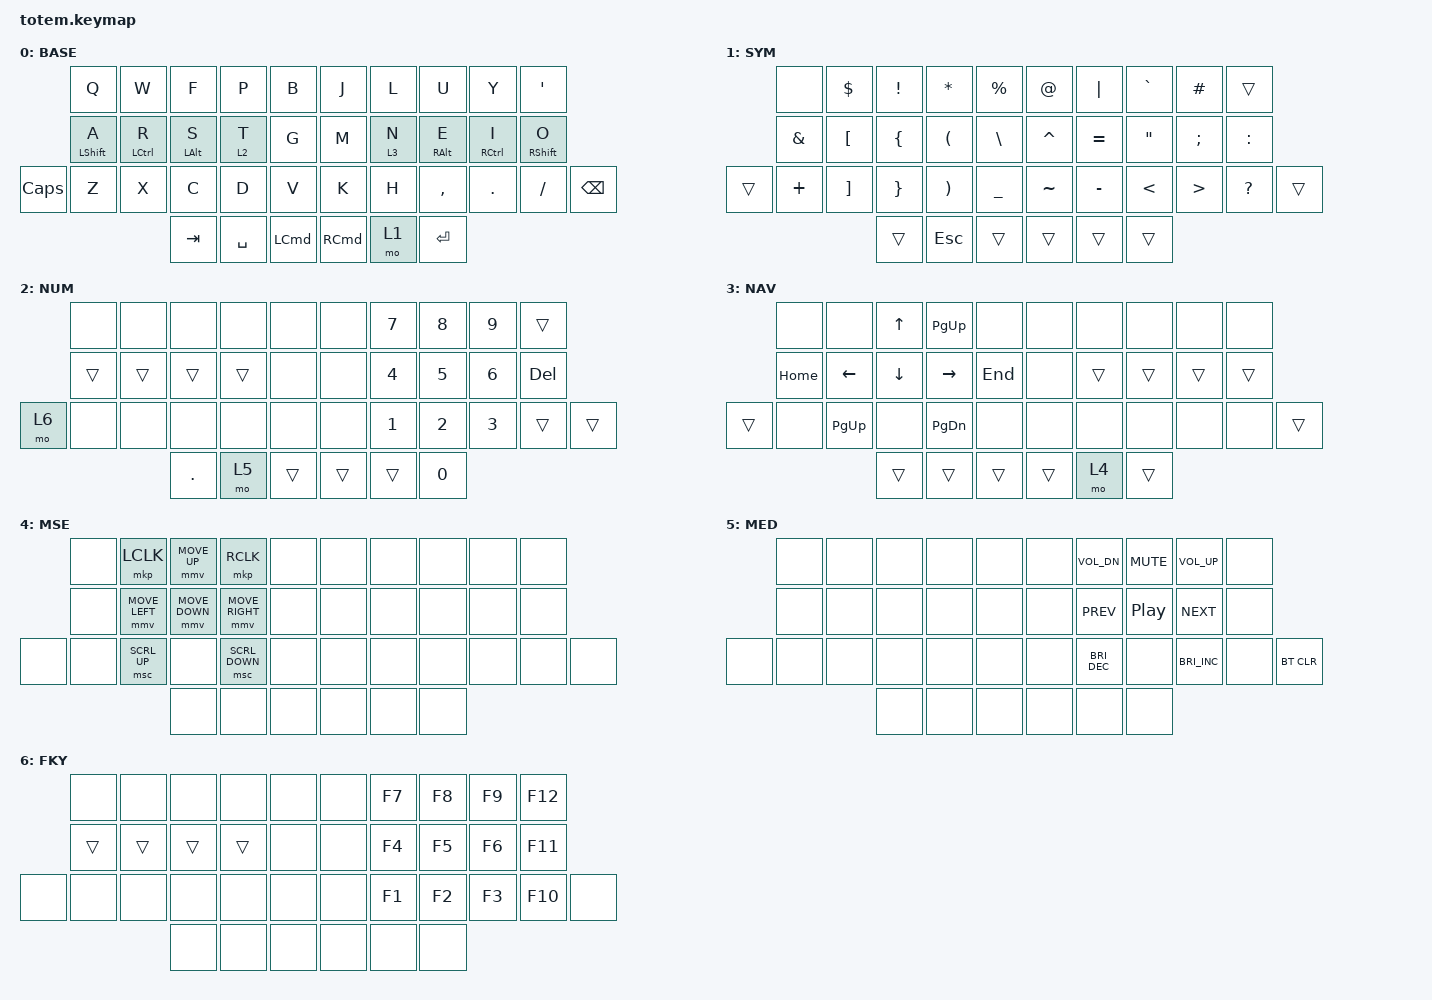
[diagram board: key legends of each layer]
//
//                                                        ▀▀▀▀▀     ▀▀▀▀▀          ▀▀█▀▀
//                                                        ▄▀▀▀▄  ▄  ▄▀▀▀▄  ▄  ▄▀▀▀▄  █  ▄▀▀▀▄
//                                                        █   █  █  █   █  █  █   █  █  █   █
//                                                         ▀▀▀   █   ▀▀▀   █   ▀▀▀   ▀   ▀▀▀
//                                                               █      ▄▄▄█▄▄▄    █   █  
//                                                               ▀      █  █  █     █▄█
//                                                             ▀▀▀▀▀    █  █  █      ▀
//                                                                      ▀  ▀  ▀
//
// ▄▄▄▄▄▄▄▄▄▄▄▄▄▄▄▄▄▄▄▄▄▄▄▄▄▄▄▄▄▄▄▄▄▄▄▄▄▄▄▄▄▄▄▄▄▄▄▄▄▄▄▄▄▄▄▄▄▄▄▄▄▄▄▄▄▄▄▄▄▄▄▄▄▄▄▄▄▄▄▄▄▄▄▄▄▄▄▄▄▄▄▄▄▄▄▄▄▄▄▄▄▄▄▄▄▄▄▄▄▄▄▄▄▄▄▄▄▄▄▄▄▄▄▄▄▄▄▄▄▄▄▄▄▄▄▄▄▄▄▄▄▄▄▄▄▄▄▄▄

#include <behaviors.dtsi>
#include <dt-bindings/zmk/bt.h>
#include <dt-bindings/zmk/keys.h>
#include <dt-bindings/zmk/pointing.h>

#define BASE 0
#define NAV  1
#define SYM  2
#define ADJ  3
#define TVP1 4
#define TVP2 5

&mt {
    quick-tap-ms = <100>;
    global-quick-tap;
    flavor = "tap-preferred";
    tapping-term-ms = <170>;
};

&mmv { acceleration-exponent = <4>; };

&msc { acceleration-exponent = <2>; };

/ {
    combos { compatible = "zmk,combos"; };

    keymap {
        compatible = "zmk,keymap";

        // ▄▄▄▄▄▄▄▄▄▄▄▄▄▄▄▄▄▄▄▄▄▄▄▄▄▄▄▄▄▄▄▄▄▄▄▄▄▄▄▄▄▄▄▄▄▄▄▄▄▄▄▄▄▄▄▄▄▄▄▄▄▄▄▄▄▄▄▄▄▄▄▄▄▄▄▄▄▄▄▄▄▄▄▄▄▄▄▄▄▄▄▄▄▄▄▄▄▄▄▄▄▄▄▄▄▄▄▄▄▄▄▄▄▄▄▄▄▄▄▄▄▄▄▄▄▄▄▄▄▄▄▄▄▄▄▄▄▄▄▄▄▄▄▄▄▄▄▄▄

        colemak_dh {
            // ┏━━━━━━━━━━━━━━━━━━━━━━━━━━━━━━━━━━━━━━━┓

            label = "BASE";

            // ┗━━━━━━━━━━━━━━━━━━━━━━━━━━━━━━━━━━━━━━━┛
            //             ┏━━━━━━━━━━━┳━━━━━━━━━━━┳━━━━━━━━━━━┳━━━━━━━━━━━┳━━━━━━━━━━━┓   ┏━━━━━━━━━━━┳━━━━━━━━━━━┳━━━━━━━━━━━┳━━━━━━━━━━━┳━━━━━━━━━━━┓
            //             ┃     Q     ┃     W     ┃     F     ┃     P     ┃     G     ┃   ┃     J     ┃     L     ┃     U     ┃     Y     ┃     ;     ┃
            //             ┣━━━━━━━━━━━╋━━━━━━━━━━━╋━━━━━━━━━━━╋━━━━━━━━━━━╋━━━━━━━━━━━┫   ┣━━━━━━━━━━━╋━━━━━━━━━━━╋━━━━━━━━━━━╋━━━━━━━━━━━╋━━━━━━━━━━━┫
            //             ┃     A     ┃     R     ┃     S     ┃     T     ┃     D     ┃   ┃     H     ┃     N     ┃     E     ┃     I     ┃     O     ┃
            // ┏━━━━━━━━━━━╋━━━━━━━━━━━╋━━━━━━━━━━━╋━━━━━━━━━━━╋━━━━━━━━━━━╋━━━━━━━━━━━┫   ┣━━━━━━━━━━━╋━━━━━━━━━━━╋━━━━━━━━━━━╋━━━━━━━━━━━╋━━━━━━━━━━━╋━━━━━━━━━━━┓
            // ┃     Q     ┃     Z     ┃     X     ┃     C     ┃     V     ┃     B     ┃   ┃     K     ┃     M     ┃     ,     ┃     .     ┃     /     ┃     \     ┃
            // ┗━━━━━━━━━━━┻━━━━━━━━━━━┻━━━━━━━━━━━╋━━━━━━━━━━━╋━━━━━━━━━━━╋━━━━━━━━━━━┫   ┣━━━━━━━━━━━╋━━━━━━━━━━━╋━━━━━━━━━━━╋━━━━━━━━━━━┻━━━━━━━━━━━┻━━━━━━━━━━━┛
            //                                     ┃    DEL    ┃    TAB    ┃    SPC    ┃   ┃   ENTER   ┃           ┃   BSPC    ┃
            //                                     ┗━━━━━━━━━━━┻━━━━━━━━━━━┻━━━━━━━━━━━┛   ┗━━━━━━━━━━━┻━━━━━━━━━━━┻━━━━━━━━━━━┛

            bindings = <
              &kp Q             &kp W        &kp F           &kp P      &kp B               &kp J              &kp L    &kp U            &kp Y        &kp SQT
              &mt LEFT_SHIFT A  &mt LCTRL R  &mt LEFT_ALT S  &lt 2 T    &kp G               &kp M              &lt 3 N  &mt RIGHT_ALT E  &mt RCTRL I  &mt RIGHT_SHIFT O
&kp CAPSLOCK  &kp Z             &kp X        &kp C           &kp D      &kp V               &kp K              &kp H    &kp COMMA        &kp DOT      &kp FSLH           &kp BACKSPACE
                                             &kp TAB         &kp SPACE  &kp LEFT_COMMAND    &kp RIGHT_COMMAND  &mo 1    &kp ENTER
            >;
        };

        // ▄▄▄▄▄▄▄▄▄▄▄▄▄▄▄▄▄▄▄▄▄▄▄▄▄▄▄▄▄▄▄▄▄▄▄▄▄▄▄▄▄▄▄▄▄▄▄▄▄▄▄▄▄▄▄▄▄▄▄▄▄▄▄▄▄▄▄▄▄▄▄▄▄▄▄▄▄▄▄▄▄▄▄▄▄▄▄▄▄▄▄▄▄▄▄▄▄▄▄▄▄▄▄▄▄▄▄▄▄▄▄▄▄▄▄▄▄▄▄▄▄▄▄▄▄▄▄▄▄▄▄▄▄▄▄▄▄▄▄▄▄▄▄▄▄▄▄▄▄

        symbols {
            // ┏━━━━━━━━━━━━━━━━━━━━━━━━━━━━━━━━━━━━━━━┓

            label = "SYM";

            // ┗━━━━━━━━━━━━━━━━━━━━━━━━━━━━━━━━━━━━━━━┛
            //             ┏━━━━━━━━━━━┳━━━━━━━━━━━┳━━━━━━━━━━━┳━━━━━━━━━━━┳━━━━━━━━━━━┓   ┏━━━━━━━━━━━┳━━━━━━━━━━━┳━━━━━━━━━━━┳━━━━━━━━━━━┳━━━━━━━━━━━┓
            //             ┃           ┃           ┃     UP    ┃           ┃     {     ┃   ┃     }     ┃     7     ┃     8     ┃     9     ┃     +     ┃
            //             ┣━━━━━━━━━━━╋━━━━━━━━━━━╋━━━━━━━━━━━╋━━━━━━━━━━━╋━━━━━━━━━━━┫   ┣━━━━━━━━━━━╋━━━━━━━━━━━╋━━━━━━━━━━━╋━━━━━━━━━━━╋━━━━━━━━━━━┫
            //             ┃   SHIFT   ┃   LEFT    ┃    DOWN   ┃   RIGHT   ┃     [     ┃   ┃     ]     ┃     4     ┃     5     ┃     6     ┃     -     ┃
            // ┏━━━━━━━━━━━╋━━━━━━━━━━━╋━━━━━━━━━━━╋━━━━━━━━━━━╋━━━━━━━━━━━╋━━━━━━━━━━━┫   ┣━━━━━━━━━━━╋━━━━━━━━━━━╋━━━━━━━━━━━╋━━━━━━━━━━━╋━━━━━━━━━━━╋━━━━━━━━━━━┓
            // ┃           ┃           ┃   P UP    ┃  C LOCK   ┃  P DOWN   ┃     (     ┃   ┃     )     ┃     1     ┃     2     ┃     3     ┃     *     ┃           ┃
            // ┗━━━━━━━━━━━┻━━━━━━━━━━━┻━━━━━━━━━━━╋━━━━━━━━━━━╋━━━━━━━━━━━╋━━━━━━━━━━━┫   ┣━━━━━━━━━━━╋━━━━━━━━━━━╋━━━━━━━━━━━╋━━━━━━━━━━━┻━━━━━━━━━━━┻━━━━━━━━━━━┛
            //                                     ┃           ┃    TAB    ┃    SPC    ┃   ┃    DEL    ┃     0     ┃           ┃
            //                                     ┗━━━━━━━━━━━┻━━━━━━━━━━━┻━━━━━━━━━━━┛   ┗━━━━━━━━━━━┻━━━━━━━━━━━┻━━━━━━━━━━━┛

            bindings = <
        &none          &kp DOLLAR         &kp EXCLAMATION  &kp ASTERISK           &kp PERCENT       &kp AT_SIGN  &kp PIPE   &kp GRAVE          &kp HASH          &trans
        &kp AMPERSAND  &kp LEFT_BRACKET   &kp LEFT_BRACE   &kp LEFT_PARENTHESIS   &kp BACKSLASH     &kp CARET    &kp EQUAL  &kp DOUBLE_QUOTES  &kp SEMICOLON     &kp COLON
&trans  &kp PLUS       &kp RIGHT_BRACKET  &kp RIGHT_BRACE  &kp RIGHT_PARENTHESIS  &kp UNDERSCORE    &kp TILDE    &kp MINUS  &kp LESS_THAN      &kp GREATER_THAN  &kp QUESTION  &trans
                                          &trans           &kp ESC                &trans            &trans       &trans     &trans
            >;
        };

        // ▄▄▄▄▄▄▄▄▄▄▄▄▄▄▄▄▄▄▄▄▄▄▄▄▄▄▄▄▄▄▄▄▄▄▄▄▄▄▄▄▄▄▄▄▄▄▄▄▄▄▄▄▄▄▄▄▄▄▄▄▄▄▄▄▄▄▄▄▄▄▄▄▄▄▄▄▄▄▄▄▄▄▄▄▄▄▄▄▄▄▄▄▄▄▄▄▄▄▄▄▄▄▄▄▄▄▄▄▄▄▄▄▄▄▄▄▄▄▄▄▄▄▄▄▄▄▄▄▄▄▄▄▄▄▄▄▄▄▄▄▄▄▄▄▄▄▄▄▄

        number {
            // ┏━━━━━━━━━━━━━━━━━━━━━━━━━━━━━━━━━━━━━━━┓

            label = "NUM";

            // ┗━━━━━━━━━━━━━━━━━━━━━━━━━━━━━━━━━━━━━━━┛
            //             ┏━━━━━━━━━━━┳━━━━━━━━━━━┳━━━━━━━━━━━┳━━━━━━━━━━━┳━━━━━━━━━━━┓   ┏━━━━━━━━━━━┳━━━━━━━━━━━┳━━━━━━━━━━━┳━━━━━━━━━━━┳━━━━━━━━━━━┓
            //             ┃     !     ┃     @     ┃     #     ┃     $     ┃     %     ┃   ┃     ˆ     ┃     &     ┃     Ü     ┃     '     ┃     "     ┃
            //             ┣━━━━━━━━━━━╋━━━━━━━━━━━╋━━━━━━━━━━━╋━━━━━━━━━━━╋━━━━━━━━━━━┫   ┣━━━━━━━━━━━╋━━━━━━━━━━━╋━━━━━━━━━━━╋━━━━━━━━━━━╋━━━━━━━━━━━┫
            //             ┃     Ä     ┃           ┃    SZ     ┃           ┃           ┃   ┃   MUTE    ┃   YEN     ┃   EURO    ┃  POUND    ┃     Ö     ┃
            // ┏━━━━━━━━━━━╋━━━━━━━━━━━╋━━━━━━━━━━━╋━━━━━━━━━━━╋━━━━━━━━━━━╋━━━━━━━━━━━┫   ┣━━━━━━━━━━━╋━━━━━━━━━━━╋━━━━━━━━━━━╋━━━━━━━━━━━╋━━━━━━━━━━━╋━━━━━━━━━━━┓
            // ┃           ┃  EMAIL1   ┃  EMAIL2   ┃           ┃           ┃           ┃   ┃   VOL-    ┃   VOL+    ┃   LAST    ┃   NEXT    ┃     \     ┃           ┃
            // ┗━━━━━━━━━━━┻━━━━━━━━━━━┻━━━━━━━━━━━╋━━━━━━━━━━━╋━━━━━━━━━━━╋━━━━━━━━━━━┫   ┣━━━━━━━━━━━╋━━━━━━━━━━━╋━━━━━━━━━━━╋━━━━━━━━━━━┻━━━━━━━━━━━┻━━━━━━━━━━━┛
            //                                     ┃           ┃    GIF    ┃    ADJ    ┃   ┃           ┃           ┃           ┃
            //                                     ┗━━━━━━━━━━━┻━━━━━━━━━━━┻━━━━━━━━━━━┛   ┗━━━━━━━━━━━┻━━━━━━━━━━━┻━━━━━━━━━━━┛

            bindings = <
       &none   &none   &none       &none   &none     &none   &kp N7        &kp N8        &kp N9        &trans
       &trans  &trans  &trans      &trans  &none     &none   &kp NUMBER_4  &kp N5        &kp NUMBER_6  &kp DELETE
&mo 6  &none   &none   &none       &none   &none     &none   &kp NUMBER_1  &kp NUMBER_2  &kp NUMBER_3  &trans      &trans
                       &kp PERIOD  &mo 5   &trans    &trans  &trans        &kp N0
            >;
        };

        // ▄▄▄▄▄▄▄▄▄▄▄▄▄▄▄▄▄▄▄▄▄▄▄▄▄▄▄▄▄▄▄▄▄▄▄▄▄▄▄▄▄▄▄▄▄▄▄▄▄▄▄▄▄▄▄▄▄▄▄▄▄▄▄▄▄▄▄▄▄▄▄▄▄▄▄▄▄▄▄▄▄▄▄▄▄▄▄▄▄▄▄▄▄▄▄▄▄▄▄▄▄▄▄▄▄▄▄▄▄▄▄▄▄▄▄▄▄▄▄▄▄▄▄▄▄▄▄▄▄▄▄▄▄▄▄▄▄▄▄▄▄▄▄▄▄▄▄▄▄

        navigation {
            // ┏━━━━━━━━━━━━━━━━━━━━━━━━━━━━━━━━━━━━━━━┓

            label = "NAV";

            // ┗━━━━━━━━━━━━━━━━━━━━━━━━━━━━━━━━━━━━━━━┛
            //             ┏━━━━━━━━━━━┳━━━━━━━━━━━┳━━━━━━━━━━━┳━━━━━━━━━━━┳━━━━━━━━━━━┓   ┏━━━━━━━━━━━┳━━━━━━━━━━━┳━━━━━━━━━━━┳━━━━━━━━━━━┳━━━━━━━━━━━┓
            //             ┃   RESET   ┃ BT CLEAR  ┃  OUT TOG  ┃           ┃           ┃   ┃           ┃    F7     ┃    F8     ┃    F9     ┃    F12    ┃
            //             ┣━━━━━━━━━━━╋━━━━━━━━━━━╋━━━━━━━━━━━╋━━━━━━━━━━━╋━━━━━━━━━━━┫   ┣━━━━━━━━━━━╋━━━━━━━━━━━╋━━━━━━━━━━━╋━━━━━━━━━━━╋━━━━━━━━━━━┫
            //             ┃ BOOTLOAD  ┃ BT NEXT   ┃           ┃           ┃           ┃   ┃           ┃    F4     ┃    F5     ┃    F6     ┃    F11    ┃
            // ┏━━━━━━━━━━━╋━━━━━━━━━━━╋━━━━━━━━━━━╋━━━━━━━━━━━╋━━━━━━━━━━━╋━━━━━━━━━━━┫   ┣━━━━━━━━━━━╋━━━━━━━━━━━╋━━━━━━━━━━━╋━━━━━━━━━━━╋━━━━━━━━━━━╋━━━━━━━━━━━┓
            // ┃           ┃           ┃ BT PREV   ┃           ┃           ┃           ┃   ┃           ┃    F1     ┃    F2     ┃    F3     ┃    F10    ┃           ┃
            // ┗━━━━━━━━━━━┻━━━━━━━━━━━┻━━━━━━━━━━━╋━━━━━━━━━━━╋━━━━━━━━━━━╋━━━━━━━━━━━┫   ┣━━━━━━━━━━━╋━━━━━━━━━━━╋━━━━━━━━━━━╋━━━━━━━━━━━┻━━━━━━━━━━━┻━━━━━━━━━━━┛
            //                                     ┃           ┃           ┃           ┃   ┃           ┃           ┃           ┃
            //                                     ┗━━━━━━━━━━━┻━━━━━━━━━━━┻━━━━━━━━━━━┛   ┗━━━━━━━━━━━┻━━━━━━━━━━━┻━━━━━━━━━━━┛

            bindings = <
        &none     &none      &kp UP    &kp PG_UP  &none      &none   &none   &none   &none   &none
        &kp HOME  &kp LEFT   &kp DOWN  &kp RIGHT  &kp END    &none   &trans  &trans  &trans  &trans
&trans  &none     &kp PG_UP  &none     &kp PG_DN  &none      &none   &none   &none   &none   &none   &trans
                             &trans    &trans     &trans     &trans  &mo 4   &trans
            >;
        };

        // ▄▄▄▄▄▄▄▄▄▄▄▄▄▄▄▄▄▄▄▄▄▄▄▄▄▄▄▄▄▄▄▄▄▄▄▄▄▄▄▄▄▄▄▄▄▄▄▄▄▄▄▄▄▄▄▄▄▄▄▄▄▄▄▄▄▄▄▄▄▄▄▄▄▄▄▄▄▄▄▄▄▄▄▄▄▄▄▄▄▄▄▄▄▄▄▄▄▄▄▄▄▄▄▄▄▄▄▄▄▄▄▄▄▄▄▄▄▄▄▄▄▄▄▄▄▄▄▄▄▄▄▄▄▄▄▄▄▄▄▄▄▄▄▄▄▄▄▄▄

        mouse {
            // ┏━━━━━━━━━━━━━━━━━━━━━━━━━━━━━━━━━━━━━━━┓

            label = "MSE";

            // ┗━━━━━━━━━━━━━━━━━━━━━━━━━━━━━━━━━━━━━━━┛
            //             ┏━━━━━━━━━━━┳━━━━━━━━━━━┳━━━━━━━━━━━┳━━━━━━━━━━━┳━━━━━━━━━━━┓   ┏━━━━━━━━━━━┳━━━━━━━━━━━┳━━━━━━━━━━━┳━━━━━━━━━━━┳━━━━━━━━━━━┓
            //             ┃ NEXT FILE ┃ MARK IN   ┃ ROTATE    ┃ MARK OUT  ┃ SHOW SNAP ┃   ┃           ┃           ┃           ┃           ┃           ┃
            //             ┣━━━━━━━━━━━╋━━━━━━━━━━━╋━━━━━━━━━━━╋━━━━━━━━━━━╋━━━━━━━━━━━┫   ┣━━━━━━━━━━━╋━━━━━━━━━━━╋━━━━━━━━━━━╋━━━━━━━━━━━╋━━━━━━━━━━━┫
            //             ┃ TVP II    ┃ LEFT      ┃ PAN       ┃ RIGHT     ┃ PLAY/FLIP ┃   ┃           ┃           ┃           ┃           ┃           ┃
            // ┏━━━━━━━━━━━╋━━━━━━━━━━━╋━━━━━━━━━━━╋━━━━━━━━━━━╋━━━━━━━━━━━╋━━━━━━━━━━━┫   ┣━━━━━━━━━━━╋━━━━━━━━━━━╋━━━━━━━━━━━╋━━━━━━━━━━━╋━━━━━━━━━━━╋━━━━━━━━━━━┓
            // ┃ FULLSCR   ┃ SHIFT     ┃ COPY      ┃ DELETE    ┃ PASTE     ┃ IMG MARK  ┃   ┃           ┃           ┃           ┃           ┃           ┃           ┃
            // ┗━━━━━━━━━━━┻━━━━━━━━━━━┻━━━━━━━━━━━╋━━━━━━━━━━━╋━━━━━━━━━━━╋━━━━━━━━━━━┫   ┣━━━━━━━━━━━╋━━━━━━━━━━━╋━━━━━━━━━━━╋━━━━━━━━━━━┻━━━━━━━━━━━┻━━━━━━━━━━━┛
            //                                     ┃           ┃ UNDO/SAVE ┃  SEL/MOV  ┃   ┃           ┃           ┃           ┃
            //                                     ┗━━━━━━━━━━━┻━━━━━━━━━━━┻━━━━━━━━━━━┛   ┗━━━━━━━━━━━┻━━━━━━━━━━━┻━━━━━━━━━━━┛

            bindings = <
       &none  &mkp LCLK       &mmv MOVE_UP    &mkp RCLK        &none    &none  &none  &none  &none  &none
       &none  &mmv MOVE_LEFT  &mmv MOVE_DOWN  &mmv MOVE_RIGHT  &none    &none  &none  &none  &none  &none
&none  &none  &msc SCRL_UP    &none           &msc SCRL_DOWN   &none    &none  &none  &none  &none  &none  &none
                              &none           &none            &none    &none  &none  &none
            >;
        };

        // ▄▄▄▄▄▄▄▄▄▄▄▄▄▄▄▄▄▄▄▄▄▄▄▄▄▄▄▄▄▄▄▄▄▄▄▄▄▄▄▄▄▄▄▄▄▄▄▄▄▄▄▄▄▄▄▄▄▄▄▄▄▄▄▄▄▄▄▄▄▄▄▄▄▄▄▄▄▄▄▄▄▄▄▄▄▄▄▄▄▄▄▄▄▄▄▄▄▄▄▄▄▄▄▄▄▄▄▄▄▄▄▄▄▄▄▄▄▄▄▄▄▄▄▄▄▄▄▄▄▄▄▄▄▄▄▄▄▄▄▄▄▄▄▄▄▄▄▄▄

        media {
            bindings = <
       &none  &none  &none  &none  &none    &none  &kp C_VOL_DN          &kp K_MUTE        &kp C_VOLUME_UP       &none
       &none  &none  &none  &none  &none    &none  &kp C_PREV            &kp C_PLAY_PAUSE  &kp C_NEXT            &none
&none  &none  &none  &none  &none  &none    &none  &kp C_BRIGHTNESS_DEC  &none             &kp C_BRIGHTNESS_INC  &none  &bt BT_CLR
                     &none  &none  &none    &none  &none                 &none
            >;

            label = "MED";
        };

        fkeys {
            label = "FKY";
            bindings = <
       &none   &none   &none   &none   &none    &none  &kp F7  &kp F8  &kp F9  &kp F12
       &trans  &trans  &trans  &trans  &none    &none  &kp F4  &kp F5  &kp F6  &kp F11
&none  &none   &none   &none   &none   &none    &none  &kp F1  &kp F2  &kp F3  &kp F10  &none
                       &none   &none   &none    &none  &none   &none
            >;
        };
    };
};
